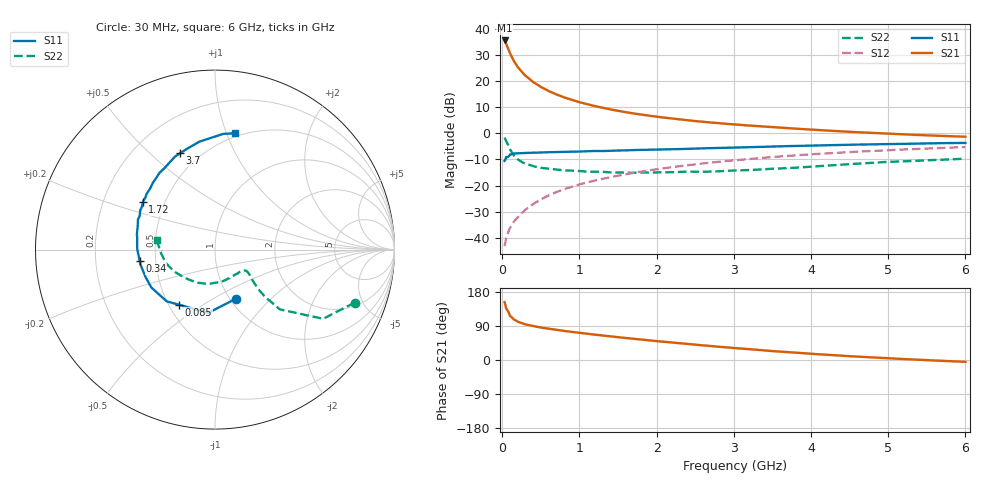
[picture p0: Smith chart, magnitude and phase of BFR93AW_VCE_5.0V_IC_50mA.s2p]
! (c) 2015  Infineon Technologies AG, Munich
! Infineon Technologies  Discrete & RF Semiconductors
! BFR93AW
! VCE =  5.0 V,  IC =  50 mA
! Common Emitter S-Parameters:  Nov 2015
# GHz  S  MA  R  50
!  f  S11  S21  S12  S22
! GHz  MAG  ANG  MAG  ANG  MAG  ANG  MAG  ANG
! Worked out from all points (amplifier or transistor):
!   206 points, 30 MHz to 6 GHz, reference 50 ohm
!   highest |S21| = 35.6 dB at 30 MHz (marker M1)
!   |S21| within 3 dB of that: start of sweep to 73.89 MHz
!   unconditionally stable (mu >= 1): 363.5 MHz to 2.153 GHz
!   at 200 MHz: K = 0.91, MSG = 28.8 dB, |S12| = -32.2 dB
!   at 1.56 GHz: K = 1.04, MAG = 10.9 dB, |S12| = -15.9 dB
!   at 6 GHz: K = 0.91, MSG = 2.0 dB, |S12| = -5.2 dB
!   S11 on the Smith chart (normalised r, x): 30 MHz: 1.07, -0.64; 85 MHz: 0.56, -0.40; 340 MHz: 0.41, -0.06; 1.72 GHz: 0.38, +0.26; 3.7 GHz: 0.39, +0.62; 6 GHz: 0.47, +1.07
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0.03  0.2978 -66.9  60.46 152.6  0.0069 73.9  0.8321 -20.8
0.05  0.3546 -96.2  52.08 136.1  0.0098 68.0  0.7154 -32.6
0.085  0.3668 -123.1  38.82 124.2  0.0138 65.9  0.5565 -38.8
0.1  0.3945 -133.1  33.94 116.3  0.0155 65.3  0.4914 -42.7
0.15  0.4125 -149.1  24.21 106.8  0.0204 68.5  0.3782 -43.3
0.2  0.4159 -158.0  18.7 101.0  0.0246 69.0  0.3199 -42.2
0.24  0.4179 -163.3  15.85 97.9  0.0284 71.4  0.2905 -40.6
0.3  0.4237 -168.7  12.72 93.9  0.0345 73.0  0.2625 -38.5
0.34  0.4241 -171.5  11.47 92.3  0.0383 73.5  0.2516 -37.4
0.4  0.4264 -175.6  9.625 89.3  0.0442 74.1  0.2355 -35.5
0.5  0.4332 179.7  7.765 85.5  0.0542 74.7  0.2187 -34.5
0.6  0.4353 175.9  6.494 82.4  0.0646 75.2  0.2102 -34.1
0.8  0.4436 169.1  4.912 76.7  0.0851 75.1  0.195 -36.6
1.04  0.4511 162.6  3.825 70.7  0.1094 73.9  0.188 -40.7
1.3  0.459 156.3  3.096 64.6  0.1352 72.0  0.1837 -46.4
1.72  0.4808 146.8  2.39 55.5  0.1775 68.9  0.1762 -60.9
2.02  0.4917 140.5  2.071 49.4  0.2072 66.2  0.1793 -70.1
3.1  0.5391 120.0  1.45 30.2  0.3136 55.7  0.196 -104.2
3.7  0.5705 110.0  1.261 20.8  0.3702 49.4  0.2161 -126.7
4.1  0.5878 103.8  1.159 15.1  0.4055 45.1  0.2355 -140.6
5.1  0.6276 90.7  0.974 3.4  0.4846 34.4  0.288 -167.9
6  0.6578 80.3  0.864 -4.9  0.5482 25.0  0.3282 170.5
